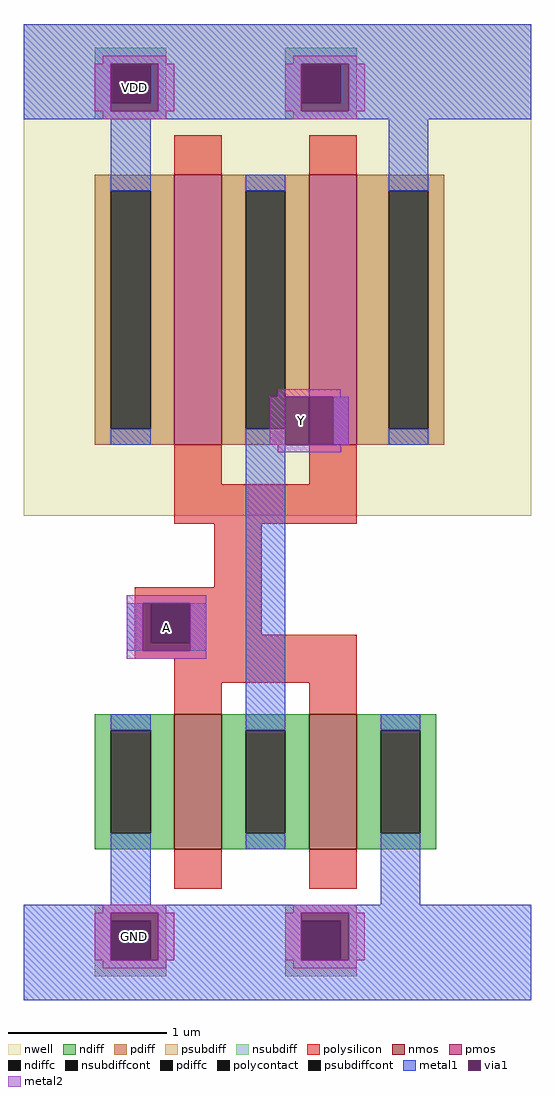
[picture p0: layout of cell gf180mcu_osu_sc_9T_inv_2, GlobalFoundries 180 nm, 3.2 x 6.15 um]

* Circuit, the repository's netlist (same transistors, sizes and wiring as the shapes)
* NGSPICE file created from gf180mcu_osu_sc_9T_inv_2.ext - technology: gf180mcuC

.inc "/import/yukari1/lrburle/globalfoundries-pdk-libs-gf180mcu_osu_sc/char/techfiles/design.hspice"
.lib "/import/yukari1/lrburle/globalfoundries-pdk-libs-gf180mcu_osu_sc/char/techfiles/sm141064.hspice" typical

X0 VDD A Y VDD pmos_3p3 w=1.7u l=0.3u
X1 Y A GND GND nmos_3p3 w=0.85u l=0.3u
X2 Y A VDD VDD pmos_3p3 w=1.7u l=0.3u
X3 GND A Y GND nmos_3p3 w=0.85u l=0.3u

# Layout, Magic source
magic
tech gf180mcuC
<< nwell >>
rect 0 97 64 159
<< nmos >>
rect 19 55 25 72
rect 36 55 42 72
<< pmos >>
rect 19 106 25 140
rect 36 106 42 140
<< ndiff >>
rect 9 70 19 72
rect 9 57 11 70
rect 16 57 19 70
rect 9 55 19 57
rect 25 70 36 72
rect 25 57 28 70
rect 33 57 36 70
rect 25 55 36 57
rect 42 70 52 72
rect 42 57 45 70
rect 50 57 52 70
rect 42 55 52 57
<< pdiff >>
rect 9 138 19 140
rect 9 108 11 138
rect 16 108 19 138
rect 9 106 19 108
rect 25 138 36 140
rect 25 108 28 138
rect 33 108 36 138
rect 25 106 36 108
rect 42 138 53 140
rect 42 108 46 138
rect 51 108 53 138
rect 42 106 53 108
<< ndiffc >>
rect 11 57 16 70
rect 28 57 33 70
rect 45 57 50 70
<< pdiffc >>
rect 11 108 16 138
rect 28 108 33 138
rect 46 108 51 138
<< psubdiff >>
rect 9 46 18 48
rect 9 41 11 46
rect 16 41 18 46
rect 9 39 18 41
rect 33 46 42 48
rect 33 41 35 46
rect 40 41 42 46
rect 33 39 42 41
<< nsubdiff >>
rect 9 154 18 156
rect 9 149 11 154
rect 16 149 18 154
rect 9 147 18 149
rect 33 154 42 156
rect 33 149 35 154
rect 40 149 42 154
rect 33 147 42 149
<< psubdiffcont >>
rect 11 41 16 46
rect 35 41 40 46
<< nsubdiffcont >>
rect 11 149 16 154
rect 35 149 40 154
<< polysilicon >>
rect 19 140 25 145
rect 36 140 42 145
rect 19 101 25 106
rect 36 101 42 106
rect 19 96 42 101
rect 24 88 30 96
rect 14 86 30 88
rect 14 81 16 86
rect 21 82 30 86
rect 21 81 42 82
rect 14 79 42 81
rect 19 76 42 79
rect 19 72 25 76
rect 36 72 42 76
rect 19 50 25 55
rect 36 50 42 55
<< polycontact >>
rect 16 81 21 86
<< metal1 >>
rect 0 154 64 159
rect 0 148 11 154
rect 17 148 35 154
rect 41 148 64 154
rect 0 147 64 148
rect 11 138 16 147
rect 11 106 16 108
rect 28 138 33 140
rect 46 138 51 147
rect 13 80 15 86
rect 21 80 23 86
rect 11 70 16 72
rect 11 48 16 57
rect 28 70 33 108
rect 39 106 41 112
rect 46 106 51 108
rect 28 55 33 57
rect 45 70 50 72
rect 45 48 50 57
rect 0 47 64 48
rect 0 41 11 47
rect 17 41 35 47
rect 41 41 64 47
rect 0 36 64 41
<< via1 >>
rect 11 149 16 154
rect 16 149 17 154
rect 11 148 17 149
rect 35 149 40 154
rect 40 149 41 154
rect 35 148 41 149
rect 15 81 16 86
rect 16 81 21 86
rect 15 80 21 81
rect 33 106 39 112
rect 11 46 17 47
rect 11 41 16 46
rect 16 41 17 46
rect 35 46 41 47
rect 35 41 40 46
rect 40 41 41 46
<< metal2 >>
rect 10 154 18 155
rect 34 154 42 155
rect 9 148 11 154
rect 17 148 19 154
rect 33 148 35 154
rect 41 148 43 154
rect 10 147 18 148
rect 34 147 42 148
rect 32 112 40 113
rect 31 106 33 112
rect 39 106 41 112
rect 32 105 40 106
rect 13 86 23 87
rect 13 80 15 86
rect 21 80 23 86
rect 13 79 23 80
rect 10 47 18 48
rect 34 47 42 48
rect 9 41 11 47
rect 17 41 19 47
rect 33 41 35 47
rect 41 41 43 47
rect 10 40 18 41
rect 34 40 42 41
<< labels >>
rlabel metal2 14 151 14 151 1 VDD
rlabel metal2 14 44 14 44 1 GND
rlabel metal2 18 83 18 83 1 A
port 1 n
rlabel metal2 35 109 35 109 1 Y
port 2 n
<< end >>
